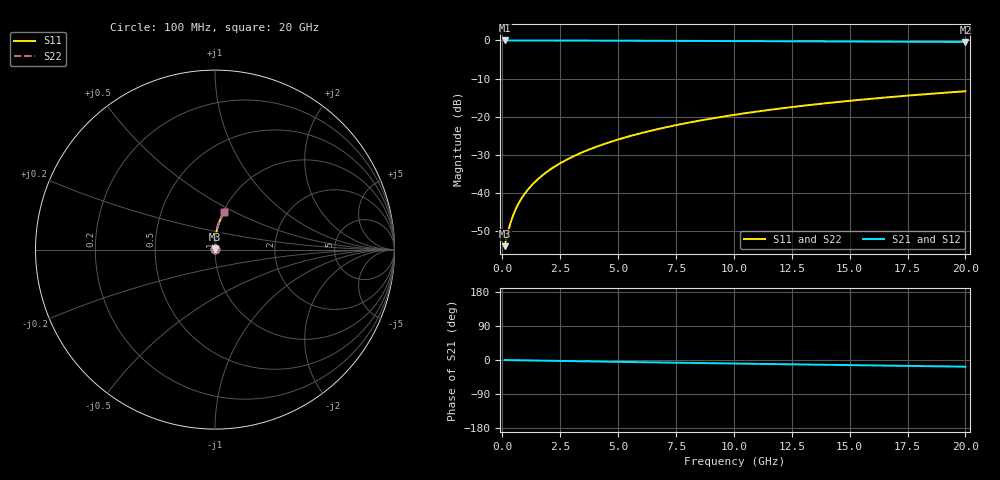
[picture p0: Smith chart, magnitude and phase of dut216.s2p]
! Touchstone file exported from HFSS 2024.1.0
!  File:  C:/UserFiles/LocalFiles/RDL_TSV_Batchsim/temp_RDL_top_216_1778687571.aedt
!  Generated:  11:55:00 PM May 13, 2026
!  Design:  RDL_top
!  Project:  temp_RDL_top_216_1778687571
!  Setup:  Setup1
!  Solution:  Sweep
! Variables:
!  dtsv = 10.80580581um
!  hbump = 3um
!  htsv = 80.46um
!  ldown = 100um
!  lrdl = 178.47um
!  p = 40
!  p1 = 59.62um
!  rhole = 1um
!  t = 450um
!  tdown = 3.915915916um
!  trdl = 2.11um
!  wdown = 15.38538539um
!  wrdl = 22.56um
# GHz S MA R 50.000000
! Terminal data exported
! Port[1] = Box2_T1
! Port[2] = Box2_T2
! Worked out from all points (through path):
!   200 points, 100 MHz to 20 GHz, reference 50 ohm
!   highest |S21| = -0.02 dB at 100 MHz (marker M1); lowest = -0.4 dB at 20 GHz (marker M2)
!   group delay of S21, straight-line fit = 2.43 ps
!   lowest |S11| = -53.9 dB at 100 MHz (marker M3), VSWR 1.00, Z = 50.2 + j0.104 ohm
!   |S11| at or under -10 dB: start of sweep to end of sweep
!   |S22| runs from -53.9 to -13.3 dB; largest |S21 - S12| = 3.4e-15
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0.1  0.002023 30.9  0.9983 -0.1  0.9983 -0.1  0.002023 30.9
! Gamma 0 0 0 0
! Port Impedance 50 0 50 0
0.3  0.003574 59.7  0.9982 -0.3  0.9982 -0.3  0.003574 59.7
0.4  0.004484 65.6  0.9981 -0.4  0.9981 -0.4  0.004484 65.6
0.5  0.005413 69.5  0.998 -0.5  0.998 -0.5  0.005413 69.5
0.6  0.006349 72.3  0.9979 -0.6  0.9979 -0.6  0.006349 72.3
0.8  0.008227 76.0  0.9978 -0.8  0.9978 -0.8  0.008227 76.0
1.1  0.01106 79.4  0.9976 -1.1  0.9976 -1.1  0.01106 79.4
1.3  0.01296 80.9  0.9974 -1.3  0.9974 -1.3  0.01296 80.9
1.6  0.01584 82.6  0.9971 -1.6  0.9971 -1.6  0.01584 82.6
2.1  0.0207 84.4  0.9966 -2.1  0.9966 -2.1  0.0207 84.4
2.7  0.02664 85.7  0.9958 -2.7  0.9958 -2.7  0.02664 85.7
3.5  0.03472 86.7  0.9946 -3.4  0.9946 -3.4  0.03472 86.7
4.2  0.04195 87.2  0.9933 -4.1  0.9933 -4.1  0.04195 87.2
5  0.05038 87.4  0.9917 -4.9  0.9917 -4.9  0.05038 87.4
5.9  0.06006 87.4  0.9898 -5.7  0.9898 -5.7  0.06006 87.4
6.8  0.06992 87.1  0.9878 -6.5  0.9878 -6.5  0.06992 87.1
8.4  0.08774 86.3  0.984 -7.9  0.984 -7.9  0.08775 86.3
10.1  0.1069 85.0  0.9798 -9.4  0.9798 -9.4  0.1069 85.0
11.7  0.125 83.7  0.9758 -10.8  0.9758 -10.8  0.125 83.7
13.4  0.1441 82.2  0.9715 -12.2  0.9715 -12.2  0.1441 82.2
16.7  0.1805 79.1  0.9627 -14.9  0.9627 -14.9  0.1806 79.1
20  0.2159 76.1  0.9533 -17.6  0.9533 -17.6  0.2159 76.1
